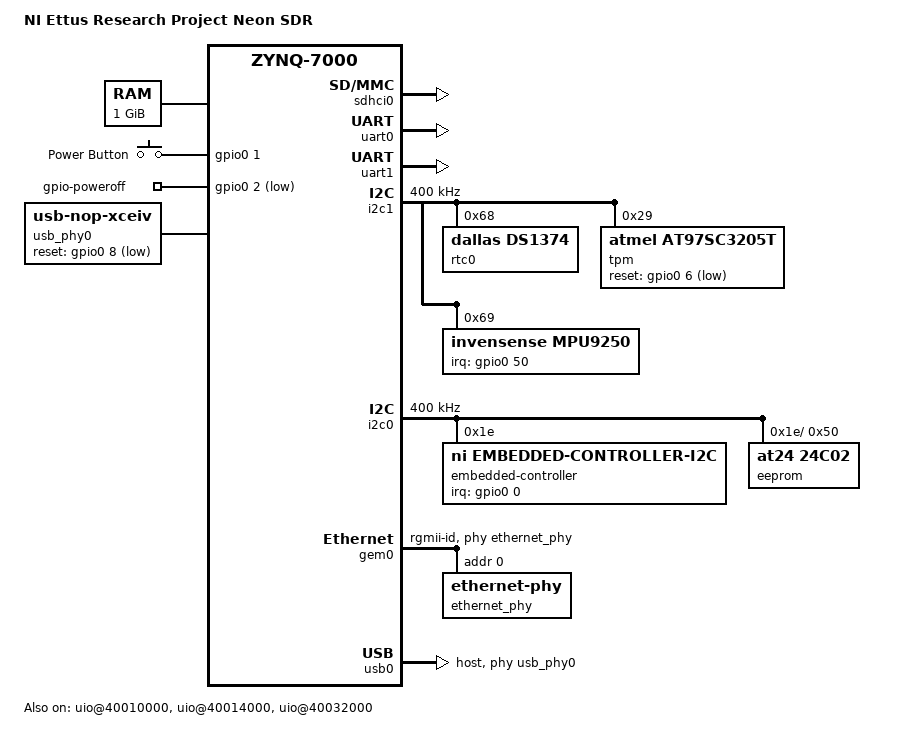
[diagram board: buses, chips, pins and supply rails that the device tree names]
// SPDX-License-Identifier: (GPL-2.0 OR X11)
/*
 * National Instruments Ettus Research Project Neon Rev1
 *
 * Copyright (c) 2018 National Instruments Corp.
 *
 */

/dts-v1/;

#include <dt-bindings/input/input.h>
#include <dt-bindings/interrupt-controller/irq.h>
#include <dt-bindings/gpio/gpio.h>
#include "zynq-7000.dtsi"

/ {
	model = "NI Ettus Research Project Neon SDR";
	compatible = "ettus,zynq-neon-rev1", "xlnx,zynq-7000";

	aliases {
		ethernet0 = &gem0;
		serial0 = &uart0;
		serial1 = &uart1;
		spi0 = &spi0;
		i2c0 = &i2c0;
		i2c1 = &i2c1;
		i2c2 = &tun;
	};

	memory {
		device_type = "memory";
		reg = <0x0 0x40000000>;
	};

        chosen {
		
		/* we have taken the original bootargs from the default device tree and we have added the cma to it. */
		
                bootargs = "console=ttyPS0,115200 earlycon  rw cma=256M";
                stdout-path = "serial0:115200n8";
        };

	gpio-keys {
		compatible = "gpio-keys";
		#address-cells = <1>;
		#size-cells = <0>;

		power-button {
			label = "Power Button";
			linux,code = <KEY_POWER>;
			gpios = <&gpio0 1 GPIO_ACTIVE_HIGH>;
		};
	};

	gpio-poweroff {
		compatible = "gpio-poweroff";
		gpios = <&gpio0 2 GPIO_ACTIVE_LOW>;
	};

	usb_phy0: phy0 {
		compatible = "usb-nop-xceiv";
		#phy-cells = <0>;
		reset-gpios = <&gpio0 8 GPIO_ACTIVE_LOW>;
	};

};

&cpu0 {
	operating-points = <1000000 1000000>;
};

&sdhci0 {
	status = "okay";
};

&uart0 {
	status = "okay";
};

&uart1 {
	status = "okay";
};

/* we use the ARM global timer */
&ttc0 {
	status = "disabled";
};

/* we use the ARM global timer */
&ttc1 {
	status = "disabled";
};

&i2c1 {
	status = "okay";
	clock-frequency = <400000>;

	rtc0: rtc@68 {
		compatible = "dallas,ds1374";
		reg = <0x68>;
		reset-on-timeout;
		trickle-resistor-ohms = <250>;
		trickle-diode-disable;
		timeout-sec = <10>;
	};

	tpm: tpm@29 {
		compatible = "atmel,at97sc3205t", "atmel,at97sc3204t";
		reg = <0x29>;
		reset-gpios = <&gpio0 6 GPIO_ACTIVE_LOW>;
	};

	mpu9250@69 {
		compatible = "invensense,mpu9250";
		reg = <0x69>;
		interrupt-parent = <&gpio0>;
		interrupts = <50 IRQ_TYPE_EDGE_RISING>;
		/* TOOO: Check edge vs level interrupt */
	};
};

&i2c0 {
	status = "okay";
	clock-frequency = <400000>;

	embedded-controller@1e {
		status = "okay";
		reg = <0x1e>;
		compatible = "ni,embedded-controller-i2c",
			     "google,cros-ec-i2c";
		interrupts = <0 IRQ_TYPE_EDGE_FALLING>;
		interrupt-parent = <&gpio0>;
		google,has-vbc-nvram;

		wakeup-source;
               thermal: thermal {
                       compatible = "google,cros-ec-thermal";
               };

		tun: i2c-tunnel {
			compatible = "google,cros-ec-i2c-tunnel";
			#address-cells = <1>;
			#size-cells = <0>;
			google,remote-bus = <0>;
			clock-frequency = <100000>;

			eeprom@50 {
				compatible = "at24,24c02";
				reg = <0x50>;
				#address-cells = <1>;
				#size-cells = <0>;
				read-only;

				eth0_addr: eth-addr@24 {
					reg = <0x24 0x6>;
				};

				eth1_addr: eth-addr@2c {
					reg = <0x2c 0x6>;
				};
			};
		};
	};
};

&gpio0 {
	status = "okay";
};

&clkc {
	ps-clk-frequency = <33333333>;
	fclk-enable = <0xf>;
};

/* Disabled, because runtime instantiation of cs-gpio property
 * does not work if driver is instantiated
 */
&spi0 {
	status = "disabled";
};

/* Disabled, because runtime instantiation of cs-gpio property
 * does not work if driver is instantiated
 */
&spi1 {
	status = "disabled";
};

&gem0 {
	status = "okay";
	phy-mode = "rgmii-id";
	phy-handle = <&ethernet_phy>;

	ethernet_phy: ethernet-phy@0 {
		reg = <0>;
		device_type = "ethernet-phy";
	};
};

&usb0 {
	status = "okay";
	dr_mode = "host";
	usb-phy = <&usb_phy0>;
};

&amba {
	ocm: sram@fffc0000 {
		compatible = "mmio-sram";
		reg = <0xfffc0000 0x10000>;
	};
};


&fpga_full {
	uio@40010000 {
		compatible = "usrp-uio";
		reg = <0x40010000 0x2000>;
		reg-names = "mboard-regs";
		status = "okay";
	};

	uio@40014000 {
		compatible = "usrp-uio";
		reg = <0x40014000 0x4000>;
		reg-names = "dboard-regs";
		status = "okay";
	};

	// nixge_internal: ethernet@40020000 {
	// 	#address-cells = <1>;
	// 	#size-cells = <1>;
	// 	compatible = "ni,xge-enet-3.00";
	// 	reg = <0x40020000 0x4000
	// 	       0x40030000 0x2000>;
	// 	reg-names = "dma", "ctrl";
	// 		clocks = <&clkc 15>;
	// 		clock-names = "bus_clk";

	// 	interrupts = <0 31 4>, <0 32 4>;
	// 	interrupt-names = "rx", "tx";
	// 	interrupt-parent = <&intc>;
	// 	status = "okay";

	// 	phy-mode = "internal";
	// 	local-mac-address = <0x00 0x01 0x02 0x03 0x04 0x05>;

	// 	fixed-link {
	// 		speed = <1000>;
	// 		full-duplex;
	// 	};
	// };

	uio@40032000 {
		compatible = "usrp-uio";
		reg = <0x40032000 0x2000>;
		reg-names = "misc-enet-int-regs";
		status = "okay";
	};

	// nixge0: ethernet@40000000 {
	// 	compatible = "ni,xge-enet-2.00";
	// 	reg = <0x40000000 0x6000>;

	// 	clocks = <&clkc 15>;
	// 	clock-names = "bus_clk";

	// 	nvmem-cells = <&eth1_addr>;
	// 	nvmem-cell-names = "address";

	// 	interrupts = <0 29 4>, <0 30 4>;
	// 	interrupt-names = "rx", "tx";
	// 	interrupt-parent = <&intc>;
	// 	status = "okay";

	// 	phy-mode = "xgmii";

	// 	fixed-link {
	// 		speed = <1000>;
	// 		full-duplex;
	// 		/* 114 = 54 (MIOs) + 60 (EMIO 60) */
	// 		// link-gpios = <&gpio0 114 0>;
	// 	};
	// };

	// uio@40006000 {
	// 	compatible = "usrp-uio";
	// 	reg = <0x40006000 0x2000>; // FIXME: Addresses
	// 	reg-names = "misc-enet-regs";
	// 	status = "okay";
	// };


	axi_dma_0: dma@40400000 {
		#dma-cells = <1>;
		clock-names = "s_axi_lite_aclk m_axi_mm2s_aclk m_axi_s2mm_aclk";
		clocks = <&clkc 15>, <&clkc 15>, <&clkc 15>;
		compatible = "microphase,axi_dma_ctrl-1.0";
		interrupt-names = "mm2s_introut s2mm_introut";
		interrupt-parent = <&intc>;
		interrupts = <0 29 4 0 30 4>;
		reg = <0x40400000 0x10000>;
		xlnx,addrwidth = <0x20>;
		xlnx,sg-length-width = <0x16>;
		// dma-channel@40400000 {
		// 	compatible = "xlnx,axi-dma-mm2s-channel";
		// 	dma-channels = <0x1>;
		// 	interrupts = <0 29 4>;
		// 	xlnx,datawidth = <0x20>;
		// 	xlnx,device-id = <0x0>;
		// 	xlnx,include-dre ;
		// };
		// dma-channel@40400030 {
		// 	compatible = "xlnx,axi-dma-s2mm-channel";
		// 	dma-channels = <0x1>;
		// 	interrupts = <0 30 4>;
		// 	xlnx,datawidth = <0x20>;
		// 	xlnx,device-id = <0x0>;
		// 	xlnx,include-dre ;
		// };
	};

};
